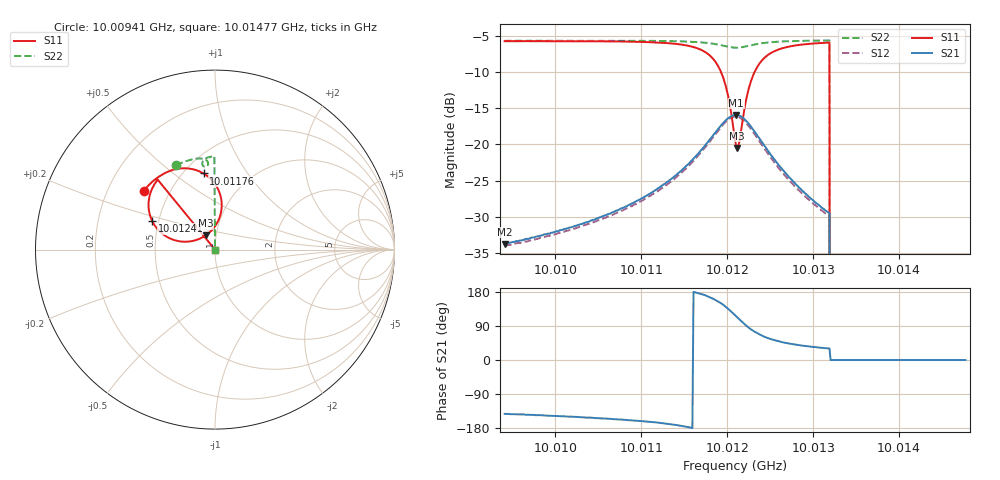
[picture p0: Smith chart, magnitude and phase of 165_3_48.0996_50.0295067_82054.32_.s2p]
#  HZ  S  RI  R  50.00
! Rohde & Schwarz Vector Network Analyzer
! Rohde-Schwarz,ZNB20-2Port,1311601062101988,3.16
! Created: UTC 12/23/2023, 3:51:12 AM
! freq[Hz]  re:S11  im:S11  re:S21  im:S21  re:S12  im:S12  re:S22  im:S22
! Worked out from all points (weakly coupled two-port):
!   401 points, 10.00941 GHz to 10.01477 GHz, reference 50 ohm
!   highest |S21| = -15.92 dB at 10.0121 GHz (marker M1); lowest = -33.7 dB at 10.00941 GHz (marker M2)
!   lowest |S11| = -20.5 dB at 10.01212 GHz (marker M3), VSWR 1.21, Z = 44.6 + j7.11 ohm
!   |S11| at or under -10 dB: 10.01193 GHz to 10.01232 GHz (392.3 kHz wide, 0.00392 % of centre); 10.01319 GHz to end of sweep
!   |S22| runs from - to -5.7 dB; largest |S21 - S12| = 0.0079
!   S11 on the Smith chart (normalised r, x): 10.00941 GHz: 0.36, +0.32; 10.01176 GHz: 0.62, +0.65; 10.01241 GHz: 0.46, +0.17; 10.01477 GHz: 1.00, +0.00
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1.0009409e10  -0.3957 0.3292  -0.0163 -0.0127  -0.0151 -0.0131  -0.2168 0.4701
1.0010307e10  -0.3407 0.3854  -0.0249 -0.0136  -0.0232 -0.0143  -0.1614 0.4929
1.0011205e10  -0.2402 0.4424  -0.0488 -0.0124  -0.0463 -0.0143  -0.0987 0.5072
1.0011514e10  -0.1661 0.4531  -0.0701 -0.00516  -0.0672 -0.00875  -0.0728 0.5071
1.0011755e10  -0.0637 0.4241  -0.0991 0.0181  -0.0967 0.0124  -0.0499 0.499
1.0011876e10  0.0029 0.3612  -0.1139 0.049  -0.1131 0.0416  -0.0401 0.4883
1.0011956e10  0.0344 0.2826  -0.1161 0.081  -0.1166 0.0738  -0.0378 0.4771
1.0012023e10  0.0305 0.1949  -0.1038 0.1133  -0.1062 0.1061  -0.0413 0.4676
1.001209e10  -0.0194 0.1062  -0.0753 0.1409  -0.0789 0.1343  -0.0499 0.4616
1.0012104e10  -0.0344 0.0922  -0.0682 0.1447  -0.0719 0.1382  -0.0521 0.4612
1.0012117e10  -0.0517 0.0791  -0.0606 0.1474  -0.064 0.1414  -0.0544 0.461
1.0012144e10  -0.0885 0.0593  -0.0452 0.1511  -0.0488 0.1454  -0.0587 0.4619
1.0012211e10  -0.1858 0.0447  -0.00654 0.1473  -0.011 0.1422  -0.0672 0.4681
1.0012264e10  -0.2519 0.0627  0.0169 0.1346  0.0117 0.1301  -0.0706 0.4754
1.0012332e10  -0.3103 0.1037  0.0348 0.1146  0.0301 0.1108  -0.0705 0.4852
1.0012412e10  -0.3497 0.159  0.0456 0.0912  0.0405 0.0889  -0.0663 0.4946
1.0012667e10  -0.3675 0.2842  0.0452 0.0463  0.0407 0.0461  -0.0451 0.5113
1.0012988e10  -0.3388 0.3613  0.0344 0.0238  0.0315 0.0242  -0.0185 0.5187
1.0013163e10  -0.3219 0.3863  0.0296 0.0176  0.0273 0.0181  -0.0053 0.5204
1.001323e10  0 0  0 0  0 0  0 0
1.0013887e10  0 0  0 0  0 0  0 0
1.0014772e10  0 0  0 0  0 0  0 0
